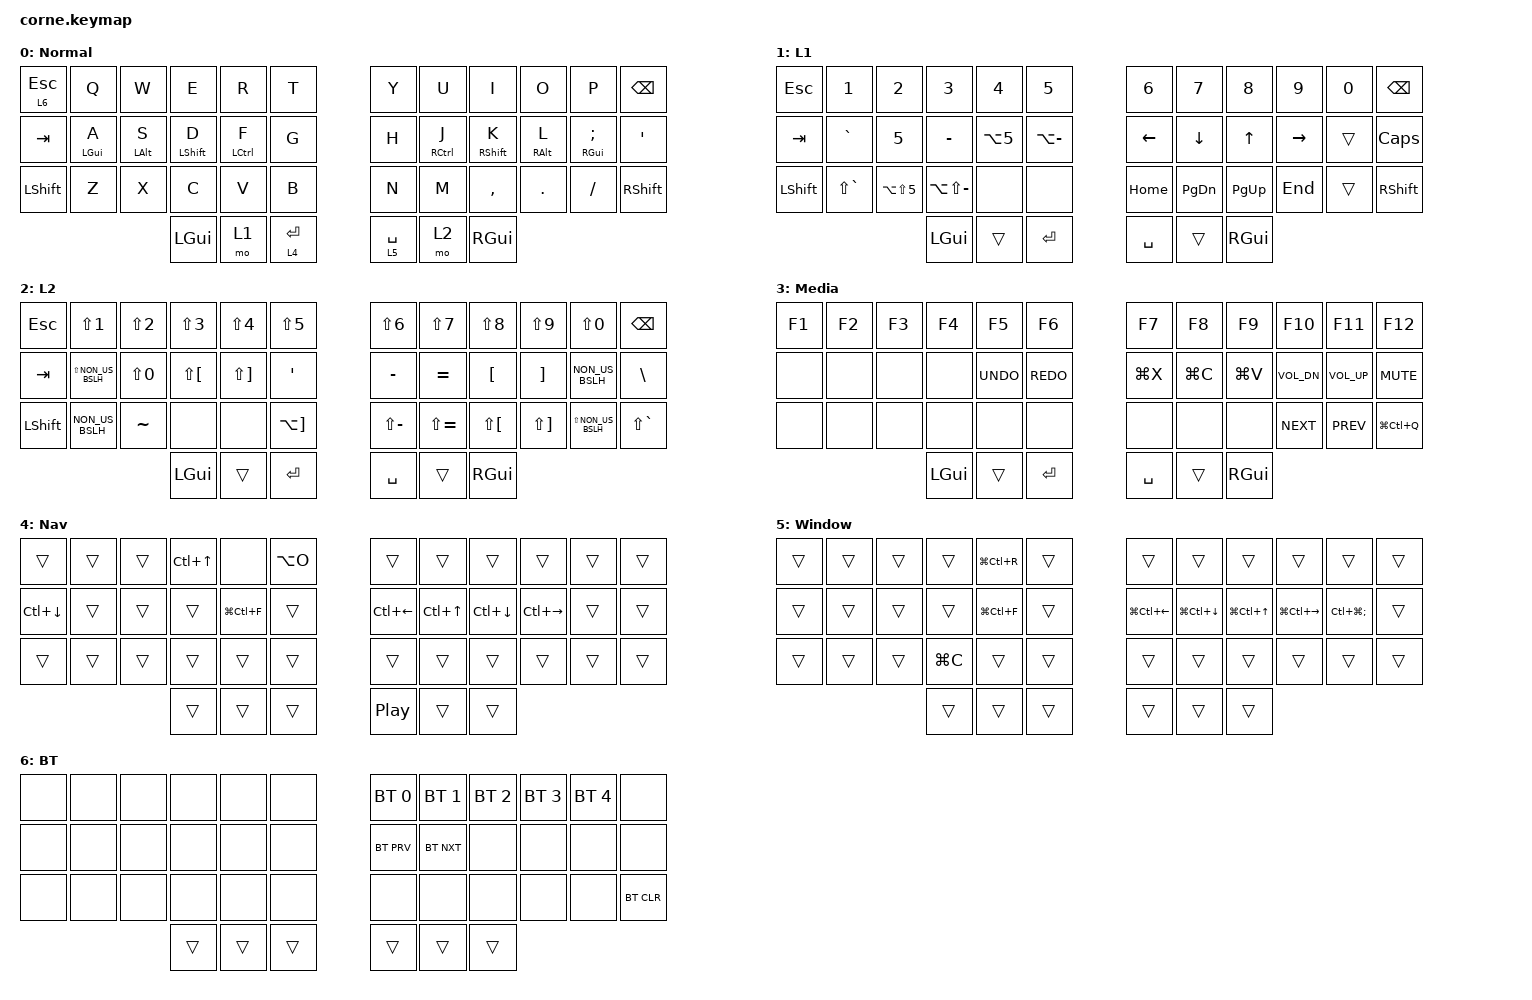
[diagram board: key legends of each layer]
#include <behaviors.dtsi>
#include <dt-bindings/zmk/keys.h>
#include <dt-bindings/zmk/bt.h>

&mt {
    tapping-term-ms = <300>;
    flavor = "tap-preferred"; // balanced | hold-preferred | tap-preferred
    require-prior-idle-ms = <125>;
    quick-tap-ms = <200>;
};

/ {
  keymap {
    compatible = "zmk,keymap";

    layer_0 {
      display-name = "Normal";
      bindings = <
        &lt 6 ESC &kp Q &kp W &kp E &kp R &kp T &kp Y &kp U &kp I &kp O &kp P &kp BSPC
        &kp TAB &mt LGUI A &mt LALT S &mt LSHFT D &mt LCTRL F &kp G &kp H &mt RCTRL J &mt RSHFT K &mt RALT L &mt RGUI SEMI &kp SQT
        &kp LSHFT &kp Z &kp X &kp C &kp V &kp B &kp N &kp M &kp COMMA &kp DOT &kp FSLH &kp RSHFT
        &kp LGUI &mo 1 &lt 4 ENTER &lt 5 SPACE &mo 2 &kp RGUI
      >;
    };

    layer_1 {
      display-name = "L1";
      bindings = <
        &kp ESC &kp N1 &kp N2 &kp N3 &kp N4 &kp N5 &kp N6 &kp N7 &kp N8 &kp N9 &kp N0 &kp BSPC
        &kp TAB &kp GRAVE &kp N5 &kp MINUS &kp LA(N5) &kp LA(MINUS) &kp LEFT &kp DOWN &kp UP &kp RIGHT &trans &kp CAPSLOCK
        &kp LSHFT &kp LS(GRAVE) &kp LA(LS(N5)) &kp LA(LS(MINUS)) &none &none &kp HOME &kp PG_DN &kp PG_UP &kp END &trans &kp RSHFT
        &kp LGUI &trans &kp ENTER &kp SPACE &trans &kp RGUI
      >;
    };

    layer_2 {
      display-name = "L2";
      bindings = <
        &kp ESC &kp LS(N1) &kp LS(N2) &kp LS(N3) &kp LS(N4) &kp LS(N5) &kp LS(N6) &kp LS(N7) &kp LS(N8) &kp LS(N9) &kp LS(N0) &kp BSPC
        &kp TAB &kp LS(NON_US_BSLH) &kp LS(N0) &kp LS(LBKT) &kp LS(RBKT) &kp SQT &kp MINUS &kp EQUAL &kp LBKT &kp RBKT &kp NON_US_BSLH &kp BSLH
        &kp LSHFT &kp NON_US_BSLH &kp TILDE &none &none &kp LA(RBKT) &kp LS(MINUS) &kp LS(EQUAL) &kp LS(LBKT) &kp LS(RBKT) &kp LS(NON_US_BSLH) &kp LS(GRAVE)
        &kp LGUI &trans &kp ENTER &kp SPACE &trans &kp RGUI
      >;
    };

    layer_3 {
      display-name = "Media";
      bindings = <
        &kp F1 &kp F2 &kp F3 &kp F4 &kp F5 &kp F6 &kp F7 &kp F8 &kp F9 &kp F10 &kp F11 &kp F12
        &none &none &none &none &kp K_UNDO &kp K_REDO &kp LG(X) &kp LG(C) &kp LG(V) &kp C_VOL_DN &kp C_VOL_UP &kp C_MUTE
        &none &none &none &none &none &none &none &none &none &kp C_NEXT &kp C_PREV &kp LG(LC(Q))
        &kp LGUI &trans &kp ENTER &kp SPACE &trans &kp RGUI
      >;
    };

    layer_4 {
      display-name = "Nav";
      bindings = <
        &trans &trans &trans &kp LC(UP) &none &kp LA(O) &trans &trans &trans &trans &trans &trans
        &kp LC(DOWN) &trans &trans &trans &kp LG(LC(F)) &trans &kp LC(LEFT) &kp LC(UP) &kp LC(DOWN) &kp LC(RIGHT) &trans &trans
        &trans &trans &trans &trans &trans &trans &trans &trans &trans &trans &trans &trans
        &trans &trans &trans &kp C_PLAY_PAUSE &trans &trans
      >;
    };

    layer_5 {
      display-name = "Window";
      bindings = <
        &trans &trans &trans &trans &kp LG(LC(R)) &trans &trans &trans &trans &trans &trans &trans
        &trans &trans &trans &trans &kp LG(LC(F)) &trans &kp LG(LC(LEFT)) &kp LG(LC(DOWN)) &kp LG(LC(UP)) &kp LG(LC(RIGHT)) &kp LC(LG(SEMI)) &trans
        &trans &trans &trans &kp LG(C) &trans &trans &trans &trans &trans &trans &trans &trans
        &trans &trans &trans &trans &trans &trans
      >;
    };

    layer_6 {
      display-name = "BT";
      bindings = <
        &none &none &none &none &none &none &bt BT_SEL 0 &bt BT_SEL 1 &bt BT_SEL 2 &bt BT_SEL 3 &bt BT_SEL 4 &none
        &none &none &none &none &none &none &bt BT_PRV &bt BT_NXT &none &none &none &none
        &none &none &none &none &none &none &none &none &none &none &none &bt BT_CLR
        &trans &trans &trans &trans &trans &trans
      >;
    };
  };

  conditional_layers {
    compatible = "zmk,conditional-layers";

    tri_layer {
      // When both Lower (1) and Raise (2) are active, activate Media (3)
      if-layers = <1 2>;
      then-layer = <3>;
    };
  };
};
